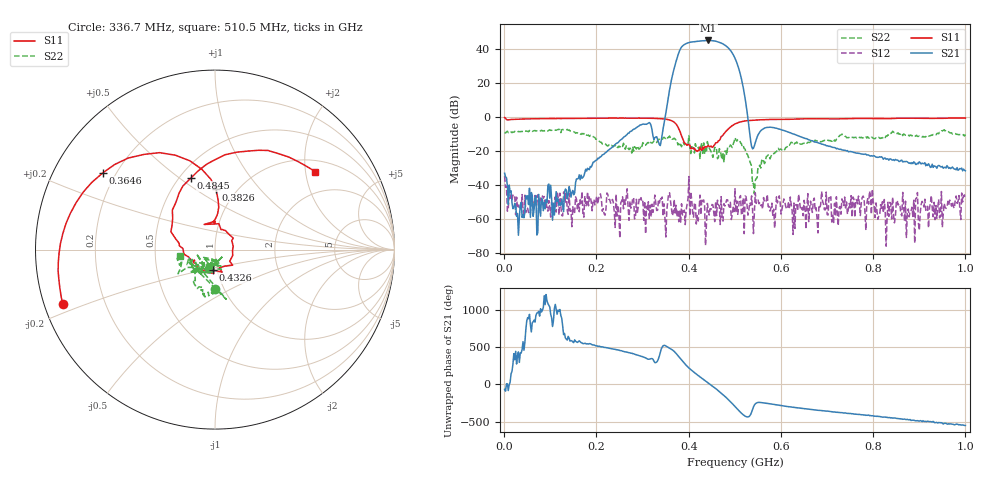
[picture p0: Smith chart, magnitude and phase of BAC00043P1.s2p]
!measured: 2026-10-27T15:27:42
!cal_instance: BBtestOct27
!cal_created: 2026-10-27T14:45
!cal_file: BBtesting.cal
!port1_delay_ps: -58.63
!port2_delay_ps: -59.31
!host: dhcp-10-250-247-203.harvard.edu
! Created with skrf 2.1.0 (http://scikit-rf.org).
# Hz S RI R 50.0
!freq ReS11 ImS11 ReS21 ImS21 ReS12 ImS12 ReS22 ImS22
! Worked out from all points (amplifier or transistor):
!   501 points, 1 MHz to 1 GHz, reference 50 ohm
!   highest |S21| = 45.1 dB at 442.6 MHz (marker M1)
!   |S21| within 3 dB of that: 387.8 MHz to 479.8 MHz (92.04 MHz wide, 21.2 % of centre)
!   unconditionally stable (mu >= 1): start of sweep to 399.2 MHz; 405.5 MHz to 500.4 MHz; 500.7 MHz to end of sweep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
!   at 166.8 MHz: K = 1395.99, MAG = -26.2 dB, |S12| = -50.7 dB
!   at 500.5 MHz: K = 0.89, MSG = 38.4 dB, |S12| = -42.3 dB
!   at 1 GHz: K = 662.24, MAG = -22.8 dB, |S12| = -48.4 dB
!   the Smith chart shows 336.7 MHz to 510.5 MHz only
!   S11 on the Smith chart (normalised r, x): 336.7 MHz: 0.05, -0.17; 364.6 MHz: 0.15, +0.30; 382.6 MHz: 0.81, +0.61; 432.6 MHz: 0.95, -0.22; 484.5 MHz: 0.57, +0.55; 510.5 MHz: 1.30, +2.27
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1000000  -0.3198 0.9111  0.00923 -0.0201  -0.0176 -0.00358  0.3421 -0.0782
1.68832e8  0.488 -0.7687  -0.0152 -0.00382  -0.000176 0.00643  -0.0333 -0.3266
3.34666e8  -0.8365 -0.3403  0.176 -0.0437  0.00359 0.000899  0.052 -0.2132
3.36664e8  -0.8492 -0.3016  0.1413 0.0586  0.000897 0.00279  0.00122 -0.2196
3.64636e8  -0.6255 0.4272  -3.285 15.97  0.00123 0.00017  -0.0678 -0.2108
3.74626e8  -0.2211 0.526  40.36 34.43  0.000968 0.000664  -0.1097 -0.173
3.82618e8  0.00582 0.3353  97.9 -34.8  -0.000621 -0.000498  -0.1331 -0.0824
3.94606e8  -0.00976 0.1564  -36.06 -140.6  0.00178 0.000364  -0.0771 -0.1369
4.08592e8  0.0592 0.1057  -162.5 6.391  -0.000425 0.00145  -0.069 -0.0988
4.22578e8  0.082 -0.065  -61.1 161.1  -0.00103 -0.00153  -0.0415 -0.1225
4.32568e8  -0.0128 -0.1135  72.4 160.7  -0.00342 -0.00112  -0.1245 -0.1197
4.42558e8  -0.0945 -0.1133  168.1 63.38  0.00166 -0.000938  -0.0744 -0.1294
4.52548e8  -0.1129 -0.0615  158.2 -77.79  -0.00253 -0.000532  0.0104 -0.0641
4.64536e8  -0.1986 0.021  14.51 -161.9  0.00252 -0.000473  -0.0184 -0.0613
4.74526e8  -0.2357 0.1754  -103 -96.97  0.000858 6.74e-05  0.0114 -0.0814
4.84516e8  -0.1332 0.3996  -110.3 25.04  0.00352 0.000801  -0.0002 -0.1292
4.92508e8  0.0573 0.5289  -39.8 74.67  -0.000649 0.0007  -0.0721 -0.1197
5.005e8  0.2949 0.5524  21.76 49.08  -0.00392 0.00663  -0.2057 -0.1344
5.1049e8  0.5588 0.4347  21.97 0.0817  -0.00133 0.00399  -0.1977 -0.0373
6.68332e8  0.0374 -0.8837  0.1822 0.0821  0.00154 -8.26e-05  0.0208 -0.1759
8.34166e8  -0.6028 -0.6654  0.00627 -0.053  0.000426 -0.00111  -0.1741 -0.2263
1e9  -0.8897 -0.2534  -0.0259 0.00343  -0.00285 0.00249  -0.2552 -0.1655
